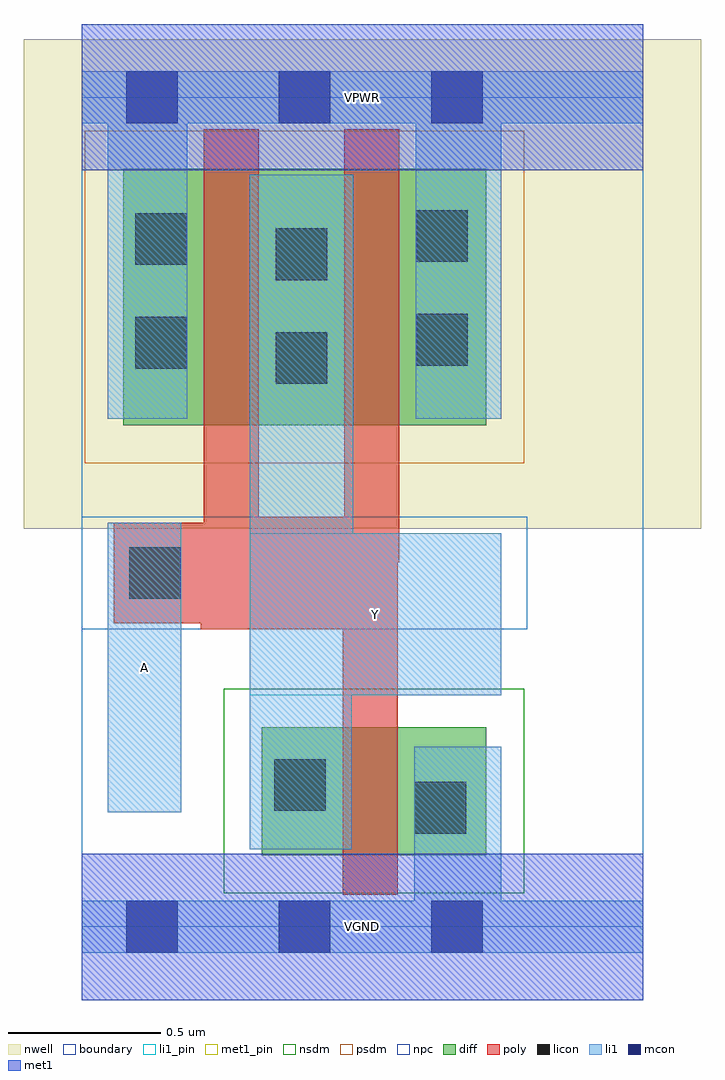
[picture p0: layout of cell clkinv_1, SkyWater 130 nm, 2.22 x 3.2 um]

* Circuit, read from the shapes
.subckt clkinv_1 A VGND VPWR Y
XM1 VGND A Y VSUBS sky130_fd_pr__nfet_01v8 w=0.42 l=0.18
XM2 Y A VPWR n1 sky130_fd_pr__pfet_01v8 w=0.84 l=0.18 m=2
.ends

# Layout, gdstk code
import gdstk
lib = gdstk.Library(unit=1e-6, precision=1e-09)
def R(c, l, rs):  # rectangles x0, y0, x1, y1
    for r in rs: c.add(gdstk.rectangle(r[:2], r[2:], *l))
def A(c, l, x, y, w, h, nx, ny, dx, dy):  # array of equal rectangles
    R(c, l, [(x+i*dx, y+j*dy, x+i*dx+w, y+j*dy+h) for i in range(nx) for j in range(ny)])
nwell = (64, 20)
diff = (65, 20)
poly = (66, 20)
licon = (66, 44)
li1_pin = (67, 16)
li1 = (67, 20)
mcon = (67, 44)
met1_pin = (68, 16)
met1 = (68, 20)
nsdm = (93, 44)
psdm = (94, 20)
npc = (95, 20)
boundary = (235, 4)

clkinv_1 = lib.new_cell('clkinv_1')
R(clkinv_1, nwell, [(-0.19,1.305,2.03,2.91), (0,1.305,1.84,2.91)])
R(clkinv_1, diff, [(0.59,0.235,1.325,0.655), (0.135,1.645,1.325,2.485)])
R(clkinv_1, poly, [(0.855,0.105,0.86,1.345), (0.86,0.105,1.035,2.615), (0.39,0.975,1.035,1.195), (0.4,0.975,0.58,2.615), (0.4,0.975,0.855,1.345), (0.105,0.995,1.035,1.325), (0.86,1.195,1.04,2.615)])
R(clkinv_1, licon, [(1.09,0.305,1.26,0.475), (0.63,0.38,0.8,0.55), (0.155,1.075,0.325,1.245), (0.635,1.78,0.805,1.95), (0.175,1.83,0.345,2), (1.095,1.84,1.265,2.01), (0.635,2.12,0.805,2.29), (0.175,2.17,0.345,2.34), (1.095,2.18,1.265,2.35)])
R(clkinv_1, li1_pin, [(0.085,0.375,0.325,1.325), (0.55,0.76,1.375,1.29)])
R(clkinv_1, li1, [(0,-0.085,1.84,0.085), (1.09,-0.085,1.375,0.59), (0.55,0.255,0.885,2.465), (0.085,0.375,0.325,1.325), (0.55,0.76,1.375,1.29), (0.55,0.76,0.89,2.465), (0.085,1.665,0.345,2.805), (1.095,1.665,1.375,2.805), (0,2.635,1.84,2.805)])
A(clkinv_1, mcon, 0.145, -0.085, 0.17, 0.17, 3, 2, 0.5, 2.72)
R(clkinv_1, met1_pin, [(0,-0.24,1.84,0.24), (0,2.48,1.84,2.96)])
R(clkinv_1, met1, [(0,-0.24,1.84,0.24), (0,2.48,1.84,2.96)])
R(clkinv_1, nsdm, [(0.465,0.11,1.45,0.78)])
R(clkinv_1, psdm, [(0.01,1.52,1.45,2.61)])
R(clkinv_1, npc, [(0,0.975,1.46,1.345)])
R(clkinv_1, boundary, [(0,0,1.84,2.72)])
clkinv_1.add(gdstk.Label('A', (0.205,0.85), layer=67, texttype=5))
clkinv_1.add(gdstk.Label('Y', (0.962,1.025), layer=67, texttype=5))
clkinv_1.add(gdstk.Label('VPWR', (0.92,2.72), layer=68, texttype=5))
clkinv_1.add(gdstk.Label('VGND', (0.92,0), layer=68, texttype=5))
clkinv_1.add(gdstk.Label('A', (0.205,0.85), layer=67, texttype=16))
clkinv_1.add(gdstk.Label('Y', (0.962,1.025), layer=67, texttype=16))
clkinv_1.add(gdstk.Label('VPWR', (0.92,2.72), layer=68, texttype=16))
clkinv_1.add(gdstk.Label('VGND', (0.92,0), layer=68, texttype=16))

lib.write_gds('clkinv_1.gds')
